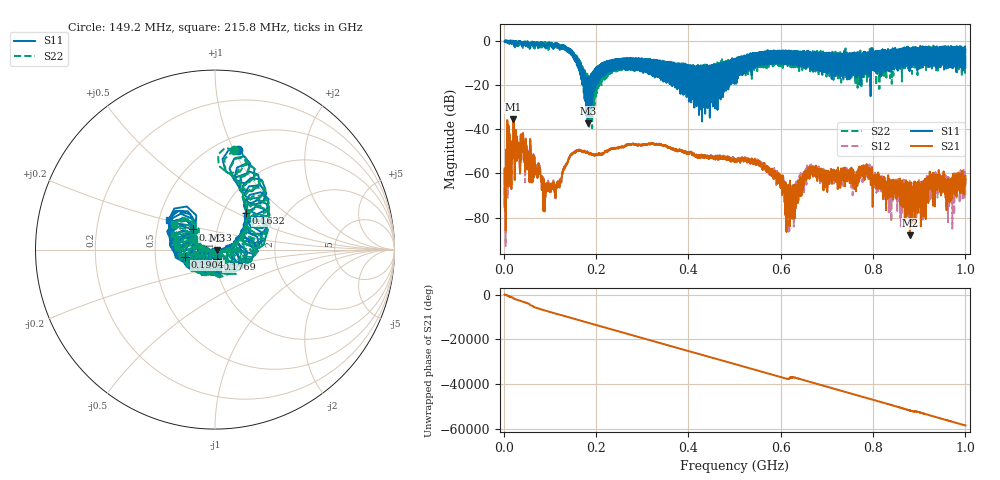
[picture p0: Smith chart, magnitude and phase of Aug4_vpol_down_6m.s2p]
!Keysight Technologies N9923A: A.12.45
!Date: Tuesday, 05 August 2025 20:24:50
!Timezone: (UTC+08:00) Kuala Lumpur, Singapore
!Model: N9923A
!Serial: MY61181427
!GPS Latitude:
!GPS Longitude:
!GPS TimeStamp: 0001-01-01 00:00:00Z
!GPS Seconds Since Last Read: 0
!CHECKSUM:0743148611
!Correction: S11(ON U)S21(ON U)S12(ON U)S22(ON U)
!S2P File: Measurements:S11,S21,S12,S22:
# Hz S DB R 50
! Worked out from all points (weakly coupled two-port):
!   4001 points, 2 MHz to 1 GHz, reference 50 ohm
!   highest |S21| = -35.60 dB at 21.21 MHz (marker M1); lowest = -88.1 dB at 879.7 MHz (marker M2)
!   lowest |S11| = -37.3 dB at 183.1 MHz (marker M3), VSWR 1.03, Z = 51.3 - j0.511 ohm
!   |S11| at or under -10 dB: 164.5 MHz to 215.5 MHz (51.08 MHz wide, 26.9 % of centre); 358.6 MHz to 361.7 MHz (3.17 MHz wide, 0.88 % of centre); 361.8 MHz to 475.5 MHz (113.7 MHz wide, 27.2 % of centre)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
!   |S22| runs from -39.6 to 0.1 dB; largest |S21 - S12| = 0.001
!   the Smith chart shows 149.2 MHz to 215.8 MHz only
!   S11 on the Smith chart (normalised r, x): 149.2 MHz: 0.63, +1.04; 163.2 MHz: 1.28, +0.56; 176.9 MHz: 1.02, -0.11; 190.4 MHz: 0.71, -0.06; 203.3 MHz: 0.76, +0.18; 215.8 MHz: 0.56, +0.21
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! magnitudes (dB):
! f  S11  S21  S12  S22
! 2 MHz  -0.1  -75.1  -74.5  -0.1
! 10.23 MHz  -0.1  -40.4  -40.5  -0.1
! 21.21 MHz  -0.7  -35.6  -35.3  -2.1
! 43.42 MHz  -0.5  -48.5  -48.6  -0.9
! 90.07 MHz  -2.9  -71.1  -70.2  -1.6
! 149.2 MHz  -4.9  -51.0  -50.9  -5.0
! 163.2 MHz  -11.5  -49.6  -49.4  -9.8
! 168.4 MHz  -17.5  -50.1  -49.8  -14.6
! 176.9 MHz  -25.1  -50.3  -50.1  -24.5
! 183.1 MHz  -37.3  -50.9  -50.7  -21.0
! 190.4 MHz  -15.3  -51.3  -51.2  -19.0
! 203.3 MHz  -15.5  -51.8  -51.5  -21.1
! 215.8 MHz  -10.2  -51.2  -50.9  -11.4
! 334.8 MHz  -9.2  -46.9  -46.9  -10.5
! 501 MHz  -8.6  -54.6  -54.3  -8.9
! 591.3 MHz  -5.3  -62.7  -61.0  -9.7
! 621.5 MHz  -6.3  -73.9  -70.4  -10.9
! 667.4 MHz  -5.4  -59.3  -59.5  -7.4
! 783.7 MHz  -5.0  -57.5  -58.5  -9.0
! 833.8 MHz  -6.1  -68.0  -74.0  -13.5
! 879.7 MHz  -3.9  -88.1  -72.0  -6.5
! 1 GHz  -12.1  -61.2  -61.6  -4.0
